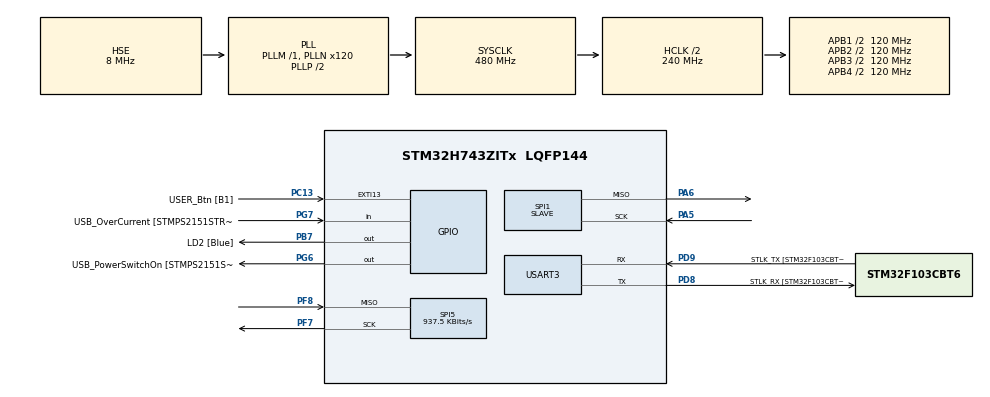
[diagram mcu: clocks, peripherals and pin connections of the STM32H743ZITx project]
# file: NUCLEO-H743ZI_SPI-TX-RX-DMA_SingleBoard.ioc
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Dma.Request0=SPI5_RX
Dma.Request1=SPI1_TX
Dma.SPI1_TX.1.Direction=DMA_MEMORY_TO_PERIPH
Dma.SPI1_TX.1.EventEnable=DISABLE
Dma.SPI1_TX.1.FIFOMode=DMA_FIFOMODE_DISABLE
Dma.SPI1_TX.1.Instance=DMA2_Stream0
Dma.SPI1_TX.1.MemDataAlignment=DMA_MDATAALIGN_BYTE
Dma.SPI1_TX.1.MemInc=DMA_MINC_ENABLE
Dma.SPI1_TX.1.Mode=DMA_NORMAL
Dma.SPI1_TX.1.PeriphDataAlignment=DMA_PDATAALIGN_BYTE
Dma.SPI1_TX.1.PeriphInc=DMA_PINC_DISABLE
Dma.SPI1_TX.1.Polarity=HAL_DMAMUX_REQ_GEN_RISING
Dma.SPI1_TX.1.Priority=DMA_PRIORITY_MEDIUM
Dma.SPI1_TX.1.RequestNumber=1
Dma.SPI1_TX.1.SignalID=NONE
Dma.SPI1_TX.1.SyncEnable=DISABLE
Dma.SPI1_TX.1.SyncPolarity=HAL_DMAMUX_SYNC_NO_EVENT
Dma.SPI1_TX.1.SyncRequestNumber=1
Dma.SPI1_TX.1.SyncSignalID=NONE
Dma.SPI5_RX.0.Direction=DMA_PERIPH_TO_MEMORY
Dma.SPI5_RX.0.EventEnable=DISABLE
Dma.SPI5_RX.0.FIFOMode=DMA_FIFOMODE_DISABLE
Dma.SPI5_RX.0.Instance=DMA1_Stream0
Dma.SPI5_RX.0.MemDataAlignment=DMA_MDATAALIGN_BYTE
Dma.SPI5_RX.0.MemInc=DMA_MINC_ENABLE
Dma.SPI5_RX.0.Mode=DMA_NORMAL
Dma.SPI5_RX.0.PeriphDataAlignment=DMA_PDATAALIGN_BYTE
Dma.SPI5_RX.0.PeriphInc=DMA_PINC_DISABLE
Dma.SPI5_RX.0.Polarity=HAL_DMAMUX_REQ_GEN_RISING
Dma.SPI5_RX.0.Priority=DMA_PRIORITY_MEDIUM
Dma.SPI5_RX.0.RequestNumber=1
Dma.SPI5_RX.0.SignalID=NONE
Dma.SPI5_RX.0.SyncEnable=DISABLE
Dma.SPI5_RX.0.SyncPolarity=HAL_DMAMUX_SYNC_NO_EVENT
Dma.SPI5_RX.0.SyncRequestNumber=1
Dma.SPI5_RX.0.SyncSignalID=NONE
Mcu.Family=STM32H7
Mcu.Name=STM32H743ZITx
Mcu.Package=LQFP144
NVIC.DMA1_Stream0_IRQn=true\:0\:0\:false\:false\:true\:false\:true
NVIC.DMA2_Stream0_IRQn=true\:0\:0\:false\:false\:true\:false\:true
NVIC.PriorityGroup=NVIC_PRIORITYGROUP_4
NVIC.SPI1_IRQn=true\:0\:0\:false\:false\:true\:false\:true
NVIC.SPI5_IRQn=true\:0\:0\:false\:false\:true\:false\:true
PA1.GPIO_Label=RMII_REF_CLK
PA1.Signal=ETH_REF_CLK
PA10.GPIO_Label=USB_ID
PA10.Signal=USB_OTG_FS_ID
PA11.GPIO_Label=USB_DM
PA11.Signal=USB_OTG_FS_DM
PA12.GPIO_Label=USB_DP
PA12.Signal=USB_OTG_FS_DP
PA13\ (JTMS/SWDIO).Mode=Trace_Asynchronous_SW
PA13\ (JTMS/SWDIO).Signal=DEBUG_JTMS-SWDIO
PA14\ (JTCK/SWCLK).Mode=Trace_Asynchronous_SW
PA14\ (JTCK/SWCLK).Signal=DEBUG_JTCK-SWCLK
PA2.GPIO_Label=RMII_MDIO
PA2.Signal=ETH_MDIO
PA5.Mode=TX_Only_Simplex_Unidirect_Slave
PA5.Signal=SPI1_SCK
PA6.Mode=TX_Only_Simplex_Unidirect_Slave
PA6.Signal=SPI1_MISO
PA7.GPIO_Label=RMII_CRS_DV
PA7.Signal=ETH_CRS_DV
PA8.GPIO_Label=USB_SOF [TP1]
PA8.Signal=USB_OTG_FS_SOF
PA9.GPIO_Label=USB_VBUS
PA9.Signal=USB_OTG_FS_VBUS
PB3\ (JTDO/TRACESWO).Mode=Trace_Asynchronous_SW
PB3\ (JTDO/TRACESWO).Signal=DEBUG_JTDO-SWO
PB7.GPIO_Label=LD2 [Blue]
PB7.Signal=GPIO_Output
PC1.GPIO_Label=RMII_MDC
PC1.Signal=ETH_MDC
PC13.GPIO_Label=USER_Btn [B1]
PC13.Signal=GPXTI13
PC14-OSC32_IN\ (OSC32_IN).Mode=LSE-External-Oscillator
PC14-OSC32_IN\ (OSC32_IN).Signal=RCC_OSC32_IN
PC15-OSC32_OUT\ (OSC32_OUT).Mode=LSE-External-Oscillator
PC15-OSC32_OUT\ (OSC32_OUT).Signal=RCC_OSC32_OUT
PC2_C.Signal=SPI2_MISO
PC4.GPIO_Label=RMII_RXD0
PC4.Signal=ETH_RXD0
PC5.GPIO_Label=RMII_RXD1
PC5.Signal=ETH_RXD1
PD3.Signal=SPI2_SCK
PD8.GPIO_Label=STLK_RX [STM32F103CBT6_PA3]
PD8.Mode=Asynchronous
PD8.Signal=USART3_TX
PD9.GPIO_Label=STLK_TX [STM32F103CBT6_PA2]
PD9.Mode=Asynchronous
PD9.Signal=USART3_RX
PF7.Mode=RX_Only_Simplex_Unidirect_Master
PF7.Signal=SPI5_SCK
PF8.Mode=RX_Only_Simplex_Unidirect_Master
PF8.Signal=SPI5_MISO
PG11.GPIO_Label=RMII_TX_EN
PG11.Signal=ETH_TX_EN
PG13.GPIO_Label=RMII_TXD0
PG13.Signal=ETH_TXD0
PG6.GPIO_Label=USB_PowerSwitchOn [STMPS2151STR_EN]
PG6.Signal=GPIO_Output
PG7.GPIO_Label=USB_OverCurrent [STMPS2151STR_FAULT]
PG7.Signal=GPIO_Input
PH0-OSC_IN\ (PH0).GPIO_Label=MCO
PH0-OSC_IN\ (PH0).Mode=HSE-External-Clock-Source
PH0-OSC_IN\ (PH0).Signal=RCC_OSC_IN
PH1-OSC_OUT\ (PH1).Signal=RCC_OSC_OUT
ProjectManager.HeapSize=0x200
ProjectManager.StackSize=0x400
ProjectManager.TargetToolchain=STM32CubeIDE
RCC.48MHZClocksFreq_Value=24000000
RCC.ADCFreq_Value=16125000
RCC.AHBFreq_Value=216000000
RCC.APB1CLKDivider=RCC_HCLK_DIV4
RCC.APB1Freq_Value=120000000
RCC.APB1TimFreq_Value=108000000
RCC.APB2CLKDivider=RCC_HCLK_DIV2
RCC.APB2Freq_Value=120000000
RCC.APB2TimFreq_Value=216000000
RCC.APB3Freq_Value=120000000
RCC.APB4Freq_Value=120000000
RCC.CortexFreq_Value=480000000
RCC.D1PPRE=RCC_APB3_DIV2
RCC.D2PPRE1=RCC_APB1_DIV2
RCC.D2PPRE2=RCC_APB2_DIV2
RCC.D3PPRE=RCC_APB4_DIV2
RCC.DIVM1=1
RCC.DIVM3=1
RCC.DIVN1=120
RCC.DIVN3=18
RCC.DIVP3=1
RCC.DIVQ1=4
RCC.HCLKFreq_Value=240000000
RCC.HPRE=RCC_HCLK_DIV2
RCC.HSE_VALUE=8000000
RCC.HSI_VALUE=64000000
RCC.PLL3FRACN=6144
RCC.PLLM=25
RCC.PLLMUL=RCC_PLL_MUL9
RCC.PLLN=432
RCC.PLLQ=9
RCC.PLLSourceVirtual=RCC_PLLSOURCE_HSE
RCC.PRESCALERUSB=RCC_USBCLKSOURCE_PLL_DIV1_5
RCC.PWR_Regulator_Voltage_Scale=PWR_REGULATOR_VOLTAGE_SCALE0
RCC.SPI123CLockSelection=RCC_SPI123CLKSOURCE_PLL3
RCC.SYSCLKFreq_VALUE=480000000
RCC.SYSCLKSource=RCC_SYSCLKSOURCE_PLLCLK
RCC.SYSCLKSourceVirtual=RCC_SYSCLKSOURCE_PLLCLK
RCC.USBFreq_Value=240000000
RCC.VCOOutputFreq_Value=432000000
SPI1.DataSize=SPI_DATASIZE_8BIT
SPI1.Direction=SPI_DIRECTION_2LINES_TXONLY
SPI1.Mode=SPI_MODE_SLAVE
SPI1.VirtualType=VM_SLAVE
SPI5.BaudRatePrescaler=SPI_BAUDRATEPRESCALER_128
SPI5.CalculateBaudRate=937.5 KBits/s
SPI5.DataSize=SPI_DATASIZE_8BIT
SPI5.Direction=SPI_DIRECTION_2LINES_RXONLY
SPI5.MasterKeepIOState=SPI_MASTER_KEEP_IO_STATE_ENABLE
SPI5.Mode=SPI_MODE_MASTER
SPI5.NSSPMode=SPI_NSS_PULSE_DISABLE
SPI5.VirtualType=VM_MASTER
USART3.VirtualMode-Asynchronous=VM_ASYNC
board=NUCLEO-H743ZI

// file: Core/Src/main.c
/* USER CODE BEGIN Header */
/**
  ******************************************************************************
  * @file           : main.c
  * @brief          : Main program body
  ******************************************************************************
  * @attention
  *
  * <h2><center>&copy; Copyright (c) 2021 STMicroelectronics.
  * All rights reserved.</center></h2>
  *
  * This software component is licensed by ST under BSD 3-Clause license,
  * the "License"; You may not use this file except in compliance with the
  * License. You may obtain a copy of the License at:
  *                        opensource.org/licenses/BSD-3-Clause
  *
  ******************************************************************************
  */
/* USER CODE END Header */
#include "main.h"

/* USER CODE BEGIN Includes */

#include <stdio.h>

/* USER CODE END Includes */

SPI_HandleTypeDef hspi1;
SPI_HandleTypeDef hspi5;
DMA_HandleTypeDef hdma_spi1_tx;
DMA_HandleTypeDef hdma_spi5_rx;

UART_HandleTypeDef huart3;

/* USER CODE BEGIN PV */

uint8_t send_data[100] = "SPI buffer test";
uint8_t receive_data[100];

/* USER CODE END PV */

void SystemClock_Config(void);
static void MX_GPIO_Init(void);
static void MX_USART3_UART_Init(void);
static void MX_DMA_Init(void);
static void MX_SPI5_Init(void);
static void MX_SPI1_Init(void);
/* USER CODE BEGIN PFP */

#define PUTCHAR_PROTOTYPE int __io_putchar(int ch)

/* USER CODE END PFP */

int main(void)
{

  /* MCU Configuration--------------------------------------------------------*/

  /* Reset of all peripherals, Initializes the Flash interface and the Systick. */
  HAL_Init();

  /* Configure the system clock */
  SystemClock_Config();

  /* Initialize all configured peripherals */
  MX_GPIO_Init();
  MX_USART3_UART_Init();
  MX_DMA_Init();
  MX_SPI5_Init();
  MX_SPI1_Init();
  /* USER CODE BEGIN 2 */

  printf("Starting >> NUCLEO-H743ZI_SPI-TX-RX-DMA_SingleBoard \n");

  for(uint16_t cntr = 0; cntr < 100; cntr++)
	  send_data[cntr] = cntr;

  HAL_SPI_Transmit_DMA(&hspi1, send_data, 30);

  HAL_SPI_Receive_DMA(&hspi5, receive_data, 30);

  HAL_Delay(200);

  printf("Ending >> NUCLEO-H743ZI_SPI-TX-RX-DMA_SingleBoard \n");

  /* USER CODE END 2 */

  /* Infinite loop */
  while (1)
  {

  }
}

void SystemClock_Config(void)
{
  RCC_OscInitTypeDef RCC_OscInitStruct = {0};
  RCC_ClkInitTypeDef RCC_ClkInitStruct = {0};

  /** Supply configuration update enable
  */
  HAL_PWREx_ConfigSupply(PWR_LDO_SUPPLY);
  /** Configure the main internal regulator output voltage
  */
  __HAL_PWR_VOLTAGESCALING_CONFIG(PWR_REGULATOR_VOLTAGE_SCALE0);

  while(!__HAL_PWR_GET_FLAG(PWR_FLAG_VOSRDY)) {}
  /** Macro to configure the PLL clock source
  */
  __HAL_RCC_PLL_PLLSOURCE_CONFIG(RCC_PLLSOURCE_HSE);
  /** Initializes the RCC Oscillators according to the specified parameters
  * in the RCC_OscInitTypeDef structure.
  */
  RCC_OscInitStruct.OscillatorType = RCC_OSCILLATORTYPE_HSE;
  RCC_OscInitStruct.HSEState = RCC_HSE_BYPASS;
  RCC_OscInitStruct.PLL.PLLState = RCC_PLL_ON;
  RCC_OscInitStruct.PLL.PLLSource = RCC_PLLSOURCE_HSE;
  RCC_OscInitStruct.PLL.PLLM = 1;
  RCC_OscInitStruct.PLL.PLLN = 120;
  RCC_OscInitStruct.PLL.PLLP = 2;
  RCC_OscInitStruct.PLL.PLLQ = 4;
  RCC_OscInitStruct.PLL.PLLR = 2;
  RCC_OscInitStruct.PLL.PLLRGE = RCC_PLL1VCIRANGE_3;
  RCC_OscInitStruct.PLL.PLLVCOSEL = RCC_PLL1VCOWIDE;
  RCC_OscInitStruct.PLL.PLLFRACN = 0;
  if (HAL_RCC_OscConfig(&RCC_OscInitStruct) != HAL_OK)
  {
    Error_Handler();
  }
  /** Initializes the CPU, AHB and APB buses clocks
  */
  RCC_ClkInitStruct.ClockType = RCC_CLOCKTYPE_HCLK|RCC_CLOCKTYPE_SYSCLK
                              |RCC_CLOCKTYPE_PCLK1|RCC_CLOCKTYPE_PCLK2
                              |RCC_CLOCKTYPE_D3PCLK1|RCC_CLOCKTYPE_D1PCLK1;
  RCC_ClkInitStruct.SYSCLKSource = RCC_SYSCLKSOURCE_PLLCLK;
  RCC_ClkInitStruct.SYSCLKDivider = RCC_SYSCLK_DIV1;
  RCC_ClkInitStruct.AHBCLKDivider = RCC_HCLK_DIV2;
  RCC_ClkInitStruct.APB3CLKDivider = RCC_APB3_DIV2;
  RCC_ClkInitStruct.APB1CLKDivider = RCC_APB1_DIV2;
  RCC_ClkInitStruct.APB2CLKDivider = RCC_APB2_DIV2;
  RCC_ClkInitStruct.APB4CLKDivider = RCC_APB4_DIV2;

  if (HAL_RCC_ClockConfig(&RCC_ClkInitStruct, FLASH_LATENCY_4) != HAL_OK)
  {
    Error_Handler();
  }
}

static void MX_SPI1_Init(void)
{

  /* SPI1 parameter configuration*/
  hspi1.Instance = SPI1;
  hspi1.Init.Mode = SPI_MODE_SLAVE;
  hspi1.Init.Direction = SPI_DIRECTION_2LINES_TXONLY;
  hspi1.Init.DataSize = SPI_DATASIZE_8BIT;
  hspi1.Init.CLKPolarity = SPI_POLARITY_LOW;
  hspi1.Init.CLKPhase = SPI_PHASE_1EDGE;
  hspi1.Init.NSS = SPI_NSS_SOFT;
  hspi1.Init.FirstBit = SPI_FIRSTBIT_MSB;
  hspi1.Init.TIMode = SPI_TIMODE_DISABLE;
  hspi1.Init.CRCCalculation = SPI_CRCCALCULATION_DISABLE;
  hspi1.Init.CRCPolynomial = 0x0;
  hspi1.Init.NSSPMode = SPI_NSS_PULSE_DISABLE;
  hspi1.Init.NSSPolarity = SPI_NSS_POLARITY_LOW;
  hspi1.Init.FifoThreshold = SPI_FIFO_THRESHOLD_01DATA;
  hspi1.Init.TxCRCInitializationPattern = SPI_CRC_INITIALIZATION_ALL_ZERO_PATTERN;
  hspi1.Init.RxCRCInitializationPattern = SPI_CRC_INITIALIZATION_ALL_ZERO_PATTERN;
  hspi1.Init.MasterSSIdleness = SPI_MASTER_SS_IDLENESS_00CYCLE;
  hspi1.Init.MasterInterDataIdleness = SPI_MASTER_INTERDATA_IDLENESS_00CYCLE;
  hspi1.Init.MasterReceiverAutoSusp = SPI_MASTER_RX_AUTOSUSP_DISABLE;
  hspi1.Init.MasterKeepIOState = SPI_MASTER_KEEP_IO_STATE_DISABLE;
  hspi1.Init.IOSwap = SPI_IO_SWAP_DISABLE;
  if (HAL_SPI_Init(&hspi1) != HAL_OK)
  {
    Error_Handler();
  }

}

static void MX_SPI5_Init(void)
{

  /* SPI5 parameter configuration*/
  hspi5.Instance = SPI5;
  hspi5.Init.Mode = SPI_MODE_MASTER;
  hspi5.Init.Direction = SPI_DIRECTION_2LINES_RXONLY;
  hspi5.Init.DataSize = SPI_DATASIZE_8BIT;
  hspi5.Init.CLKPolarity = SPI_POLARITY_LOW;
  hspi5.Init.CLKPhase = SPI_PHASE_1EDGE;
  hspi5.Init.NSS = SPI_NSS_SOFT;
  hspi5.Init.BaudRatePrescaler = SPI_BAUDRATEPRESCALER_128;
  hspi5.Init.FirstBit = SPI_FIRSTBIT_MSB;
  hspi5.Init.TIMode = SPI_TIMODE_DISABLE;
  hspi5.Init.CRCCalculation = SPI_CRCCALCULATION_DISABLE;
  hspi5.Init.CRCPolynomial = 0x0;
  hspi5.Init.NSSPMode = SPI_NSS_PULSE_DISABLE;
  hspi5.Init.NSSPolarity = SPI_NSS_POLARITY_LOW;
  hspi5.Init.FifoThreshold = SPI_FIFO_THRESHOLD_01DATA;
  hspi5.Init.TxCRCInitializationPattern = SPI_CRC_INITIALIZATION_ALL_ZERO_PATTERN;
  hspi5.Init.RxCRCInitializationPattern = SPI_CRC_INITIALIZATION_ALL_ZERO_PATTERN;
  hspi5.Init.MasterSSIdleness = SPI_MASTER_SS_IDLENESS_00CYCLE;
  hspi5.Init.MasterInterDataIdleness = SPI_MASTER_INTERDATA_IDLENESS_00CYCLE;
  hspi5.Init.MasterReceiverAutoSusp = SPI_MASTER_RX_AUTOSUSP_DISABLE;
  hspi5.Init.MasterKeepIOState = SPI_MASTER_KEEP_IO_STATE_ENABLE;
  hspi5.Init.IOSwap = SPI_IO_SWAP_DISABLE;
  if (HAL_SPI_Init(&hspi5) != HAL_OK)
  {
    Error_Handler();
  }

}

static void MX_USART3_UART_Init(void)
{

  huart3.Instance = USART3;
  huart3.Init.BaudRate = 115200;
  huart3.Init.WordLength = UART_WORDLENGTH_8B;
  huart3.Init.StopBits = UART_STOPBITS_1;
  huart3.Init.Parity = UART_PARITY_NONE;
  huart3.Init.Mode = UART_MODE_TX_RX;
  huart3.Init.HwFlowCtl = UART_HWCONTROL_NONE;
  huart3.Init.OverSampling = UART_OVERSAMPLING_16;
  huart3.Init.OneBitSampling = UART_ONE_BIT_SAMPLE_DISABLE;
  huart3.Init.ClockPrescaler = UART_PRESCALER_DIV1;
  huart3.AdvancedInit.AdvFeatureInit = UART_ADVFEATURE_NO_INIT;
  if (HAL_UART_Init(&huart3) != HAL_OK)
  {
    Error_Handler();
  }
  if (HAL_UARTEx_SetTxFifoThreshold(&huart3, UART_TXFIFO_THRESHOLD_1_8) != HAL_OK)
  {
    Error_Handler();
  }
  if (HAL_UARTEx_SetRxFifoThreshold(&huart3, UART_RXFIFO_THRESHOLD_1_8) != HAL_OK)
  {
    Error_Handler();
  }
  if (HAL_UARTEx_DisableFifoMode(&huart3) != HAL_OK)
  {
    Error_Handler();
  }

}

static void MX_DMA_Init(void)
{

  /* DMA controller clock enable */
  __HAL_RCC_DMA1_CLK_ENABLE();
  __HAL_RCC_DMA2_CLK_ENABLE();

  /* DMA interrupt init */
  /* DMA1_Stream0_IRQn interrupt configuration */
  HAL_NVIC_SetPriority(DMA1_Stream0_IRQn, 0, 0);
  HAL_NVIC_EnableIRQ(DMA1_Stream0_IRQn);
  /* DMA2_Stream0_IRQn interrupt configuration */
  HAL_NVIC_SetPriority(DMA2_Stream0_IRQn, 0, 0);
  HAL_NVIC_EnableIRQ(DMA2_Stream0_IRQn);

}

static void MX_GPIO_Init(void)
{
  GPIO_InitTypeDef GPIO_InitStruct = {0};

  /* GPIO Ports Clock Enable */
  __HAL_RCC_GPIOC_CLK_ENABLE();
  __HAL_RCC_GPIOF_CLK_ENABLE();
  __HAL_RCC_GPIOH_CLK_ENABLE();
  __HAL_RCC_GPIOA_CLK_ENABLE();
  __HAL_RCC_GPIOD_CLK_ENABLE();
  __HAL_RCC_GPIOG_CLK_ENABLE();
  __HAL_RCC_GPIOB_CLK_ENABLE();

  /*Configure GPIO pin Output Level */
  HAL_GPIO_WritePin(USB_PowerSwitchOn_GPIO_Port, USB_PowerSwitchOn_Pin, GPIO_PIN_RESET);

  /*Configure GPIO pin Output Level */
  HAL_GPIO_WritePin(LD2_GPIO_Port, LD2_Pin, GPIO_PIN_RESET);

  /*Configure GPIO pin : USER_Btn_Pin */
  GPIO_InitStruct.Pin = USER_Btn_Pin;
  GPIO_InitStruct.Mode = GPIO_MODE_IT_RISING;
  GPIO_InitStruct.Pull = GPIO_NOPULL;
  HAL_GPIO_Init(USER_Btn_GPIO_Port, &GPIO_InitStruct);

  /*Configure GPIO pins : RMII_MDC_Pin RMII_RXD0_Pin RMII_RXD1_Pin */
  GPIO_InitStruct.Pin = RMII_MDC_Pin|RMII_RXD0_Pin|RMII_RXD1_Pin;
  GPIO_InitStruct.Mode = GPIO_MODE_AF_PP;
  GPIO_InitStruct.Pull = GPIO_NOPULL;
  GPIO_InitStruct.Speed = GPIO_SPEED_FREQ_LOW;
  GPIO_InitStruct.Alternate = GPIO_AF11_ETH;
  HAL_GPIO_Init(GPIOC, &GPIO_InitStruct);

  /*Configure GPIO pin : PC2 */
  GPIO_InitStruct.Pin = GPIO_PIN_2;
  GPIO_InitStruct.Mode = GPIO_MODE_AF_PP;
  GPIO_InitStruct.Pull = GPIO_NOPULL;
  GPIO_InitStruct.Speed = GPIO_SPEED_FREQ_LOW;
  GPIO_InitStruct.Alternate = GPIO_AF5_SPI2;
  HAL_GPIO_Init(GPIOC, &GPIO_InitStruct);

  /*Configure GPIO pins : RMII_REF_CLK_Pin RMII_MDIO_Pin RMII_CRS_DV_Pin */
  GPIO_InitStruct.Pin = RMII_REF_CLK_Pin|RMII_MDIO_Pin|RMII_CRS_DV_Pin;
  GPIO_InitStruct.Mode = GPIO_MODE_AF_PP;
  GPIO_InitStruct.Pull = GPIO_NOPULL;
  GPIO_InitStruct.Speed = GPIO_SPEED_FREQ_LOW;
  GPIO_InitStruct.Alternate = GPIO_AF11_ETH;
  HAL_GPIO_Init(GPIOA, &GPIO_InitStruct);

  /*Configure GPIO pin : USB_PowerSwitchOn_Pin */
  GPIO_InitStruct.Pin = USB_PowerSwitchOn_Pin;
  GPIO_InitStruct.Mode = GPIO_MODE_OUTPUT_PP;
  GPIO_InitStruct.Pull = GPIO_NOPULL;
  GPIO_InitStruct.Speed = GPIO_SPEED_FREQ_LOW;
  HAL_GPIO_Init(USB_PowerSwitchOn_GPIO_Port, &GPIO_InitStruct);

  /*Configure GPIO pin : USB_OverCurrent_Pin */
  GPIO_InitStruct.Pin = USB_OverCurrent_Pin;
  GPIO_InitStruct.Mode = GPIO_MODE_INPUT;
  GPIO_InitStruct.Pull = GPIO_NOPULL;
  HAL_GPIO_Init(USB_OverCurrent_GPIO_Port, &GPIO_InitStruct);

  /*Configure GPIO pins : USB_SOF_Pin USB_ID_Pin USB_DM_Pin USB_DP_Pin */
  GPIO_InitStruct.Pin = USB_SOF_Pin|USB_ID_Pin|USB_DM_Pin|USB_DP_Pin;
  GPIO_InitStruct.Mode = GPIO_MODE_AF_PP;
  GPIO_InitStruct.Pull = GPIO_NOPULL;
  GPIO_InitStruct.Speed = GPIO_SPEED_FREQ_LOW;
  GPIO_InitStruct.Alternate = GPIO_AF10_OTG1_FS;
  HAL_GPIO_Init(GPIOA, &GPIO_InitStruct);

  /*Configure GPIO pin : PD3 */
  GPIO_InitStruct.Pin = GPIO_PIN_3;
  GPIO_InitStruct.Mode = GPIO_MODE_AF_PP;
  GPIO_InitStruct.Pull = GPIO_NOPULL;
  GPIO_InitStruct.Speed = GPIO_SPEED_FREQ_LOW;
  GPIO_InitStruct.Alternate = GPIO_AF5_SPI2;
  HAL_GPIO_Init(GPIOD, &GPIO_InitStruct);

  /*Configure GPIO pins : RMII_TX_EN_Pin RMII_TXD0_Pin */
  GPIO_InitStruct.Pin = RMII_TX_EN_Pin|RMII_TXD0_Pin;
  GPIO_InitStruct.Mode = GPIO_MODE_AF_PP;
  GPIO_InitStruct.Pull = GPIO_NOPULL;
  GPIO_InitStruct.Speed = GPIO_SPEED_FREQ_LOW;
  GPIO_InitStruct.Alternate = GPIO_AF11_ETH;
  HAL_GPIO_Init(GPIOG, &GPIO_InitStruct);

  /*Configure GPIO pin : LD2_Pin */
  GPIO_InitStruct.Pin = LD2_Pin;
  GPIO_InitStruct.Mode = GPIO_MODE_OUTPUT_PP;
  GPIO_InitStruct.Pull = GPIO_NOPULL;
  GPIO_InitStruct.Speed = GPIO_SPEED_FREQ_LOW;
  HAL_GPIO_Init(LD2_GPIO_Port, &GPIO_InitStruct);

}

/* USER CODE BEGIN 4 */

PUTCHAR_PROTOTYPE
{
  /* Place your implementation of fputc here */
  /* e.g. write a character to the LPUART1 and Loop until the end of transmission */
  HAL_UART_Transmit(&huart3, (uint8_t *)&ch, 1, 0xFFFF);

  return ch;
}

void HAL_SPI_RxCpltCallback(SPI_HandleTypeDef *hspi)
{
	UNUSED(hspi);
	printf("HAL_SPI_RxCpltCallback \n");
}

void HAL_SPI_ErrorCallback(SPI_HandleTypeDef *hspi)
{
	UNUSED(hspi);
	printf("HAL_SPI_ErrorCallback = %x \n", hspi->ErrorCode);
}

void HAL_SPI_TxCpltCallback(SPI_HandleTypeDef *hspi)
{
	UNUSED(hspi);
	printf("HAL_SPI_TxCpltCallback \n");
}

/* USER CODE END 4 */

void Error_Handler(void)
{
  __disable_irq();
  while (1)
  {
  }
}

/************************ (C) COPYRIGHT STMicroelectronics *****END OF FILE****/
